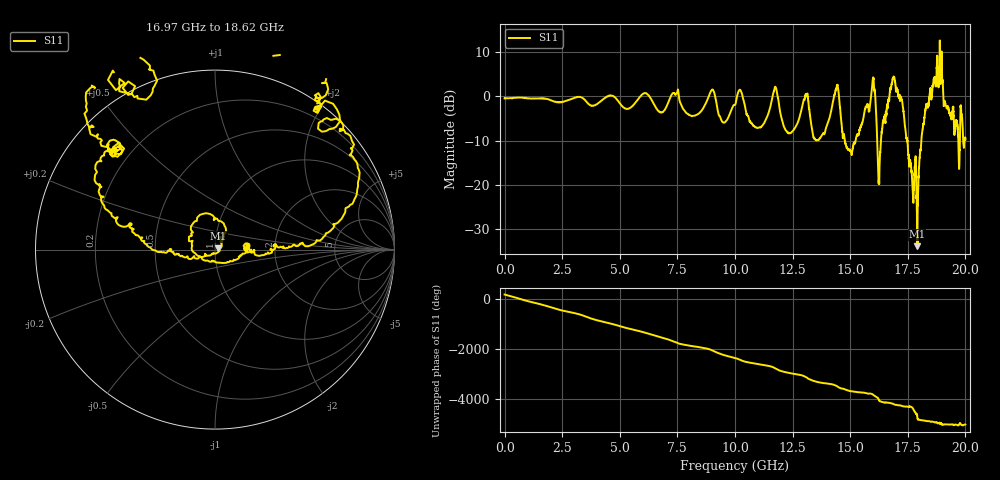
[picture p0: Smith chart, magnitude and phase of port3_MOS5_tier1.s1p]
! Created with skrf 1.8.0 (http://scikit-rf.org).
# GHz S RI R 50.0
!freq ReS11 ImS11
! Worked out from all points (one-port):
!   10001 points, 1 MHz to 20 GHz, reference 50 ohm
!   lowest |S11| = -33.9 dB at 17.9 GHz (marker M1), VSWR 1.04, Z = 52 + j0.647 ohm
!   |S11| at or under -10 dB: 14.77 GHz to 15.23 GHz (466.2 MHz wide, 3.11 % of centre); 16.17 GHz to 16.33 GHz (164.9 MHz wide, 1.01 % of centre); 17.48 GHz to 18.09 GHz (603.8 MHz wide, 3.39 % of centre) (the widest 3 of 7)
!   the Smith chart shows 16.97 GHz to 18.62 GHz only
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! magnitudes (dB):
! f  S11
! 1 MHz  -0.5
! 2.501 GHz  -1.3
! 5.001 GHz  -1.6
! 6.809 GHz  -3.7
! 7.501 GHz  1.0
! 8.191 GHz  -4.4
! 9.029 GHz  1.5
! 9.511 GHz  -5.9
! 10 GHz  -1.9
! 10.24 GHz  1.4
! 11.05 GHz  -7.0
! 11.75 GHz  2.2
! 12.14 GHz  -7.0
! 12.5 GHz  -7.9
! 13.08 GHz  0.3
! 13.66 GHz  -9.7
! 14.41 GHz  2.2
! 15 GHz  -12.2
! 15.99 GHz  4.0
! 16.27 GHz  -17.1
! 16.87 GHz  4.2
! 17.24 GHz  -0.8
! 17.5 GHz  -11.3
! 17.9 GHz  -33.9
! 18.24 GHz  -3.8
! 18.87 GHz  3.9
! 19.14 GHz  -2.0
! 20 GHz  -9.7
